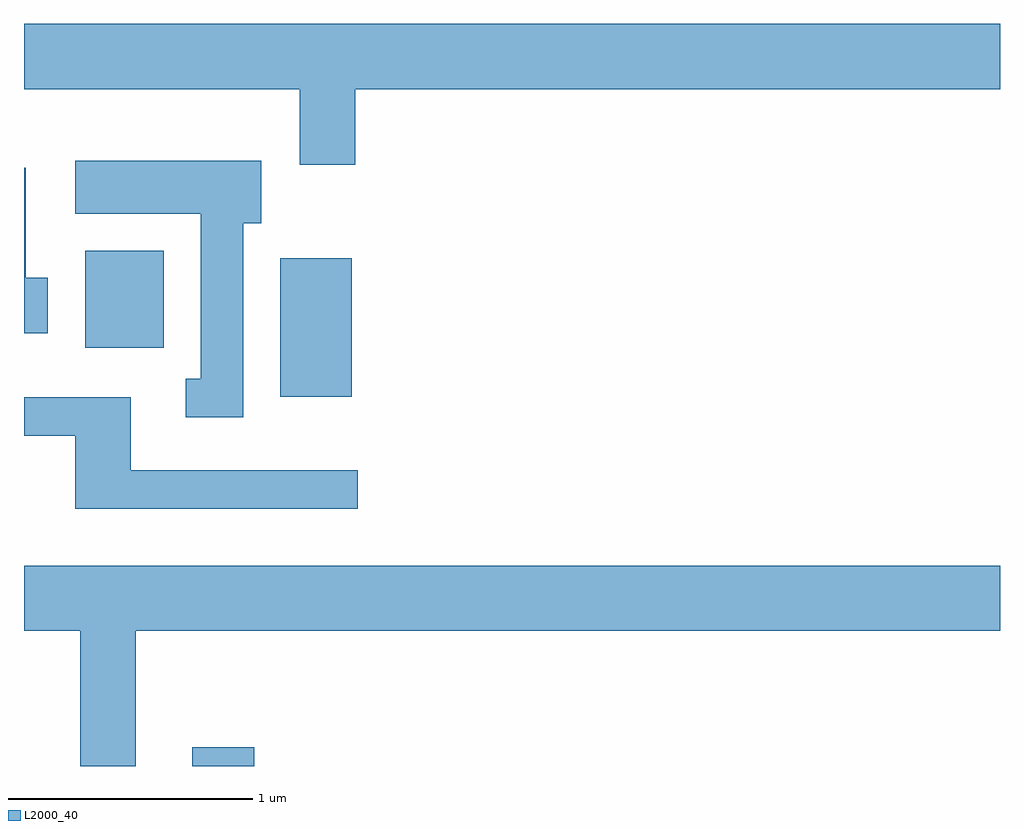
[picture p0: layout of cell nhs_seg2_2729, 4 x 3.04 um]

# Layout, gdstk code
import gdstk
lib = gdstk.Library(unit=1e-6, precision=1e-09)
def R(c, l, rs):  # rectangles x0, y0, x1, y1
    for r in rs: c.add(gdstk.rectangle(r[:2], r[2:], *l))
def P(c, l, *ps):  # polygons
    for p in ps: c.add(gdstk.Polygon(p, *l))
L2000_40 = (2000, 40)

nhs_seg2_2729 = lib.new_cell('nhs_seg2_2729')
R(nhs_seg2_2729, L2000_40, [(266.301,1007.802,266.554,1007.879), (266.661,1009.316,266.954,1009.884), (265.861,1009.516,266.184,1009.914)])
P(nhs_seg2_2729, L2000_40, [(266.969,1010.576),(269.611,1010.576),(269.611,1010.844),(265.611,1010.844),(265.611,1010.576),(266.741,1010.576),(266.741,1010.266),(266.969,1010.266)],
  [(266.509,1010.026),(266.584,1010.026),(266.584,1010.284),(265.821,1010.284),(265.821,1010.066),(266.336,1010.066),(266.336,1009.389),(266.273,1009.389),(266.273,1009.231),(266.509,1009.231)],
  [(265.709,1009.804),(265.619,1009.804),(265.619,1010.254),(265.611,1010.254),(265.611,1009.576),(265.709,1009.576)],
  [(266.978,1009.014),(266.049,1009.014),(266.049,1009.314),(265.611,1009.314),(265.611,1009.156),(265.821,1009.156),(265.821,1008.856),(266.978,1008.856)],
  [(266.069,1008.356),(269.611,1008.356),(269.611,1008.624),(265.611,1008.624),(265.611,1008.356),(265.841,1008.356),(265.841,1007.802),(266.069,1007.802)])

lib.write_gds('nhs_seg2_2729.gds')
